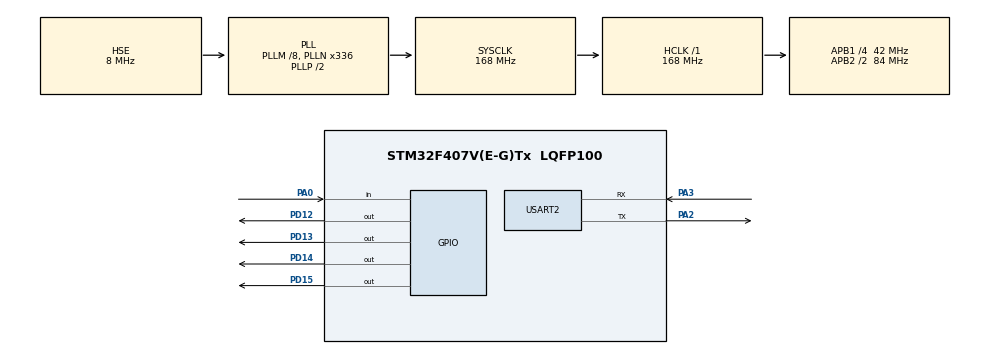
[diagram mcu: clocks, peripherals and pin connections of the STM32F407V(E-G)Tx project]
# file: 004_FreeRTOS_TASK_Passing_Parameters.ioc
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FREERTOS.Tasks01=defaultTask,24,128,StartDefaultTask,Default,NULL,Dynamic,NULL,NULL
FREERTOS.configUSE_NEWLIB_REENTRANT=1
Mcu.Family=STM32F4
Mcu.Name=STM32F407V(E-G)Tx
Mcu.Package=LQFP100
NVIC.PriorityGroup=NVIC_PRIORITYGROUP_4
NVIC.TIM8_TRG_COM_TIM14_IRQn=true\:15\:0\:false\:false\:true\:false\:false\:true\:true
NVIC.TimeBase=TIM8_TRG_COM_TIM14_IRQn
NVIC.TimeBaseIP=TIM14
PA0-WKUP.Signal=GPIO_Input
PA2.Mode=Asynchronous
PA2.Signal=USART2_TX
PA3.Mode=Asynchronous
PA3.Signal=USART2_RX
PD12.Signal=GPIO_Output
PD13.Signal=GPIO_Output
PD14.Signal=GPIO_Output
PD15.Signal=GPIO_Output
PH0-OSC_IN.Mode=HSE-External-Oscillator
PH0-OSC_IN.Signal=RCC_OSC_IN
PH1-OSC_OUT.Mode=HSE-External-Oscillator
PH1-OSC_OUT.Signal=RCC_OSC_OUT
ProjectManager.HeapSize=0x200
ProjectManager.StackSize=0x400
ProjectManager.TargetToolchain=STM32CubeIDE
RCC.48MHZClocksFreq_Value=48000000
RCC.AHBFreq_Value=168000000
RCC.APB1CLKDivider=RCC_HCLK_DIV4
RCC.APB1Freq_Value=42000000
RCC.APB1TimFreq_Value=84000000
RCC.APB2CLKDivider=RCC_HCLK_DIV2
RCC.APB2Freq_Value=84000000
RCC.APB2TimFreq_Value=168000000
RCC.CortexFreq_Value=168000000
RCC.HCLKFreq_Value=168000000
RCC.HSE_VALUE=8000000
RCC.HSI_VALUE=16000000
RCC.LSE_VALUE=32768
RCC.PLLM=8
RCC.PLLN=336
RCC.PLLQ=7
RCC.PLLSourceVirtual=RCC_PLLSOURCE_HSE
RCC.SYSCLKFreq_VALUE=168000000
RCC.SYSCLKSource=RCC_SYSCLKSOURCE_PLLCLK
RCC.VCOOutputFreq_Value=336000000
USART2.VirtualMode=VM_ASYNC
VP_FREERTOS_VS_CMSIS_V2.Mode=CMSIS_V2
VP_SYS_VS_tim14.Mode=TIM14
board=STM32F407G-DISC1

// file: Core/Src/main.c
/* USER CODE BEGIN Header */
/**
  ******************************************************************************
  * @file           : main.c
  * @brief          : Main program body
  ******************************************************************************
  * @attention
  *
  * Copyright (c) 2023 STMicroelectronics.
  * All rights reserved.
  *
  * This software is licensed under terms that can be found in the LICENSE file
  * in the root directory of this software component.
  * If no LICENSE file comes with this software, it is provided AS-IS.
  *
  ******************************************************************************
  */
/* USER CODE END Header */
#include "main.h"
#include "cmsis_os.h"

/* USER CODE BEGIN Includes */
#include "FreeRTOS.h"
#include "task.h"
/* USER CODE END Includes */

UART_HandleTypeDef huart2;

/* Definitions for defaultTask */
//osThreadId_t defaultTaskHandle;
//const osThreadAttr_t defaultTask_attributes = {
//  .name = "defaultTask",
//  .stack_size = 128 * 4,
//  .priority = (osPriority_t) osPriorityNormal,
//};

void SystemClock_Config(void);
static void MX_GPIO_Init(void);
static void MX_USART2_UART_Init(void);
void StartDefaultTask(void *argument);

/* USER CODE BEGIN 0 */
void vTask2(void * pvParameters)
{
	char *GorevAdi = (char *) pvParameters;
	for(;;)
	{
		HAL_UART_Transmit(&huart2, (uint8_t *)GorevAdi, 19, 0xFFFF);
		for(volatile uint32_t ul = 0; ul < 500000; ul++);
	}
}
void vTask1(void * pvParameters)
{
	char *GorevAdi = (char *)pvParameters;
	for(;;)
	{
		HAL_UART_Transmit(&huart2, (uint8_t *)GorevAdi, 19, 0xFFFF);
		for(volatile uint32_t ul = 0; ul < 500000; ul++);
	}
}

/* USER CODE END 0 */

int main(void)
{
  /* USER CODE BEGIN 1 */
  static const char *Gorev1Metin = "Gorev 1 calisiyor\r\n";
  static const char *Gorev2Metin = "Gorev 2 calisiyor\r\n";
  /* USER CODE END 1 */

  /* MCU Configuration--------------------------------------------------------*/

  /* Reset of all peripherals, Initializes the Flash interface and the Systick. */
  HAL_Init();

  /* Configure the system clock */
  SystemClock_Config();

  /* Initialize all configured peripherals */
  MX_GPIO_Init();
  MX_USART2_UART_Init();
  /* USER CODE BEGIN 2 */
  xTaskCreate(vTask1, "Task 1", configMINIMAL_STACK_SIZE, (void*)Gorev1Metin, 1, NULL);
  xTaskCreate(vTask2, "Task 2", configMINIMAL_STACK_SIZE, (void*)Gorev2Metin, 1, NULL);
  vTaskStartScheduler();
  /* USER CODE END 2 */

  /* Init scheduler */
  //osKernelInitialize();

  /* Create the thread(s) */
  /* creation of defaultTask */
  //defaultTaskHandle = osThreadNew(StartDefaultTask, NULL, &defaultTask_attributes);

  /* Start scheduler */
  //osKernelStart();
  /* We should never get here as control is now taken by the scheduler */
  /* Infinite loop */
  while (1)
  {

  }
}

void SystemClock_Config(void)
{
  RCC_OscInitTypeDef RCC_OscInitStruct = {0};
  RCC_ClkInitTypeDef RCC_ClkInitStruct = {0};

  /** Configure the main internal regulator output voltage
  */
  __HAL_RCC_PWR_CLK_ENABLE();
  __HAL_PWR_VOLTAGESCALING_CONFIG(PWR_REGULATOR_VOLTAGE_SCALE1);

  /** Initializes the RCC Oscillators according to the specified parameters
  * in the RCC_OscInitTypeDef structure.
  */
  RCC_OscInitStruct.OscillatorType = RCC_OSCILLATORTYPE_HSE;
  RCC_OscInitStruct.HSEState = RCC_HSE_ON;
  RCC_OscInitStruct.PLL.PLLState = RCC_PLL_ON;
  RCC_OscInitStruct.PLL.PLLSource = RCC_PLLSOURCE_HSE;
  RCC_OscInitStruct.PLL.PLLM = 8;
  RCC_OscInitStruct.PLL.PLLN = 336;
  RCC_OscInitStruct.PLL.PLLP = RCC_PLLP_DIV2;
  RCC_OscInitStruct.PLL.PLLQ = 7;
  if (HAL_RCC_OscConfig(&RCC_OscInitStruct) != HAL_OK)
  {
    Error_Handler();
  }

  /** Initializes the CPU, AHB and APB buses clocks
  */
  RCC_ClkInitStruct.ClockType = RCC_CLOCKTYPE_HCLK|RCC_CLOCKTYPE_SYSCLK
                              |RCC_CLOCKTYPE_PCLK1|RCC_CLOCKTYPE_PCLK2;
  RCC_ClkInitStruct.SYSCLKSource = RCC_SYSCLKSOURCE_PLLCLK;
  RCC_ClkInitStruct.AHBCLKDivider = RCC_SYSCLK_DIV1;
  RCC_ClkInitStruct.APB1CLKDivider = RCC_HCLK_DIV4;
  RCC_ClkInitStruct.APB2CLKDivider = RCC_HCLK_DIV2;

  if (HAL_RCC_ClockConfig(&RCC_ClkInitStruct, FLASH_LATENCY_5) != HAL_OK)
  {
    Error_Handler();
  }
}

static void MX_USART2_UART_Init(void)
{

  huart2.Instance = USART2;
  huart2.Init.BaudRate = 115200;
  huart2.Init.WordLength = UART_WORDLENGTH_8B;
  huart2.Init.StopBits = UART_STOPBITS_1;
  huart2.Init.Parity = UART_PARITY_NONE;
  huart2.Init.Mode = UART_MODE_TX_RX;
  huart2.Init.HwFlowCtl = UART_HWCONTROL_NONE;
  huart2.Init.OverSampling = UART_OVERSAMPLING_16;
  if (HAL_UART_Init(&huart2) != HAL_OK)
  {
    Error_Handler();
  }

}

static void MX_GPIO_Init(void)
{
  GPIO_InitTypeDef GPIO_InitStruct = {0};

  /* GPIO Ports Clock Enable */
  __HAL_RCC_GPIOH_CLK_ENABLE();
  __HAL_RCC_GPIOA_CLK_ENABLE();
  __HAL_RCC_GPIOD_CLK_ENABLE();

  /*Configure GPIO pin Output Level */
  HAL_GPIO_WritePin(GPIOD, GPIO_PIN_12|GPIO_PIN_13|GPIO_PIN_14|GPIO_PIN_15, GPIO_PIN_RESET);

  /*Configure GPIO pin : PA0 */
  GPIO_InitStruct.Pin = GPIO_PIN_0;
  GPIO_InitStruct.Mode = GPIO_MODE_INPUT;
  GPIO_InitStruct.Pull = GPIO_NOPULL;
  HAL_GPIO_Init(GPIOA, &GPIO_InitStruct);

  /*Configure GPIO pins : PD12 PD13 PD14 PD15 */
  GPIO_InitStruct.Pin = GPIO_PIN_12|GPIO_PIN_13|GPIO_PIN_14|GPIO_PIN_15;
  GPIO_InitStruct.Mode = GPIO_MODE_OUTPUT_PP;
  GPIO_InitStruct.Pull = GPIO_NOPULL;
  GPIO_InitStruct.Speed = GPIO_SPEED_FREQ_LOW;
  HAL_GPIO_Init(GPIOD, &GPIO_InitStruct);

}

void StartDefaultTask(void *argument)
{
  for(;;)
  {
    osDelay(1);
  }
}

void HAL_TIM_PeriodElapsedCallback(TIM_HandleTypeDef *htim)
{
  if (htim->Instance == TIM14) {
    HAL_IncTick();
  }
}

void Error_Handler(void)
{
  __disable_irq();
  while (1)
  {
  }
}
